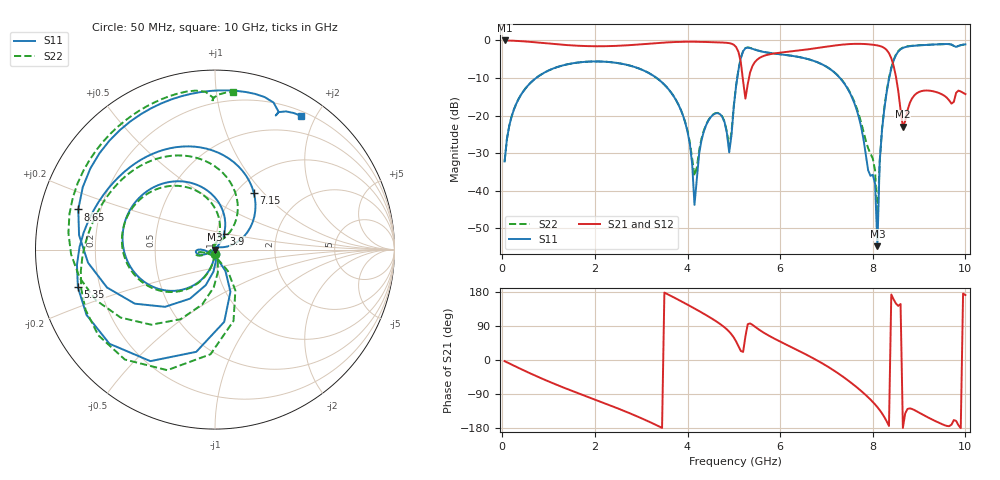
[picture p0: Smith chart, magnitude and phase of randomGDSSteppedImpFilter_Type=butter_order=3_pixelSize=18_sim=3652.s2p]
! freq	dB(S11)	phase(S11)	dB(S12)	phase(S12)
!  dB(S21)	phase(S21)	dB(S22)	phase(S22)
!S-par simulation data
#  GHz  S  DB  R 50
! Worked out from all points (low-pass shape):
!   200 points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, 50 MHz to 10 GHz, reference 50 ohm
!   highest |S21| = -0.01 dB at 50 MHz (marker M1); lowest = -23.0 dB at 8.65 GHz (marker M2)
!   |S21| within 3 dB of the highest: start of sweep to 5.097 GHz; 6.176 GHz to 8.327 GHz (2.151 GHz wide, 29.7 % of centre)
!   lowest |S11| = -54.8 dB at 8.1 GHz (marker M3), VSWR 1.00, Z = 49.8 + j0.0325 ohm
!   |S11| at or under -10 dB: start of sweep to 731.3 MHz; 3.331 GHz to 5.074 GHz (1.743 GHz wide, 41.5 % of centre); 7.291 GHz to 8.355 GHz (1.064 GHz wide, 13.6 % of centre)
!   |S22| runs from -47.9 to -1.0 dB; largest |S21 - S12| = 0
!   S11 on the Smith chart (normalised r, x): 50 MHz: 1.00, -0.05; 3.9 GHz: 1.09, +0.19; 5.35 GHz: 0.12, -0.13; 7.15 GHz: 1.19, +0.89; 8.65 GHz: 0.12, +0.14; 10 GHz: 0.26, +1.80
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0.05  -32.24 -93.1  -0.01 -3.0  -0.01 -3.0  -32.24 -93.0
0.5  -12.80 -120.5  -0.27 -29.5  -0.27 -29.5  -12.80 -119.6
1.75  -5.73 174.9  -1.48 -92.9  -1.48 -92.9  -5.73 178.4
3.4  -10.66 90.6  -0.65 -176.1  -0.65 -176.1  -10.65 99.3
3.9  -19.94 60.2  -0.36 152.6  -0.36 152.6  -19.88 74.9
4.15  -43.81 100.5  -0.35 136.0  -0.35 136.0  -36.10 127.2
4.45  -21.36 -160.7  -0.43 115.0  -0.43 115.0  -21.24 -157.3
4.9  -29.83 -144.3  -0.72 74.7  -0.72 74.7  -28.47 -131.6
5.05  -12.04 -69.9  -1.78 48.8  -1.78 48.8  -11.90 -63.5
5.25  -2.07 -138.3  -15.51 62.2  -15.51 62.2  -2.02 -129.4
5.35  -2.02 -164.6  -8.59 96.6  -8.59 96.6  -1.99 -155.0
5.85  -3.46 142.8  -3.52 58.0  -3.52 58.0  -3.44 155.4
6.7  -5.34 88.1  -2.20 5.5  -2.20 5.5  -5.33 105.8
7.15  -8.31 55.8  -1.40 -26.9  -1.40 -26.9  -8.28 77.3
7.7  -20.51 15.0  -0.91 -76.6  -0.91 -76.6  -19.75 49.7
8.05  -38.16 110.1  -1.22 -117.3  -1.22 -117.3  -34.64 115.8
8.1  -54.81 169.7  -1.33 -124.5  -1.33 -124.5  -47.87 156.2
8.15  -32.15 -80.2  -1.47 -132.3  -1.47 -132.3  -32.20 -74.0
8.35  -10.26 -117.1  -3.40 -174.0  -3.40 -174.0  -10.03 -103.3
8.65  -2.00 163.6  -23.01 -179.3  -23.01 -179.3  -1.92 -178.1
9.15  -1.20 106.2  -13.34 -148.8  -13.34 -148.8  -1.18 128.5
10  -1.06 57.4  -14.29 171.4  -14.29 171.4  -1.07 83.6
